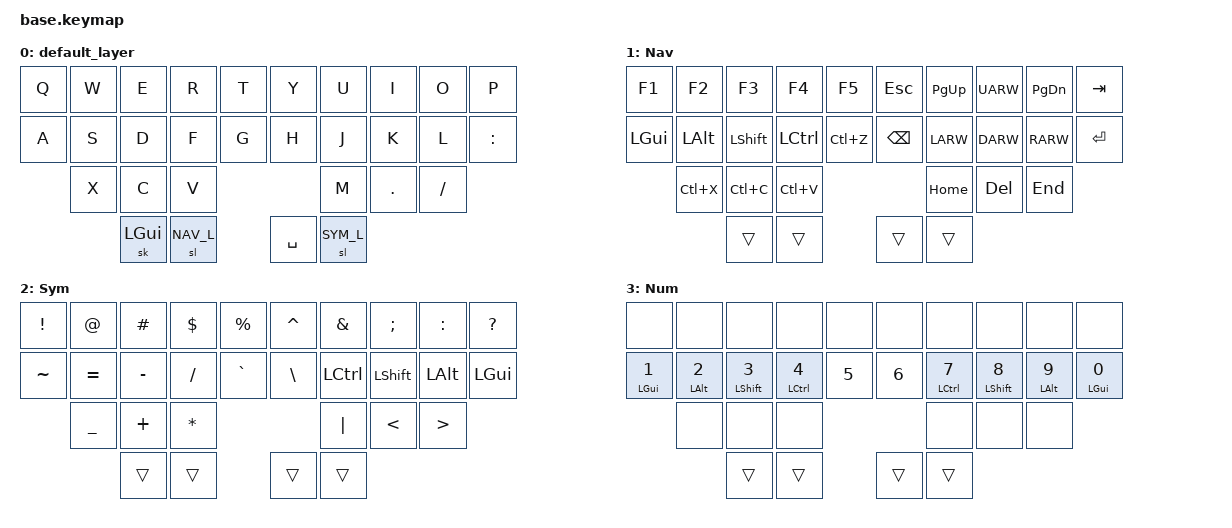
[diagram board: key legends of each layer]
/*
 * Copyright (c) 2020 The ZMK Contributors
 *
 * SPDX-License-Identifier: MIT
 */

#include <behaviors.dtsi>
#include <dt-bindings/zmk/keys.h>

/* Layers */
#define DEF_L 0
#define NAV_L 1
#define SYM_L 2
#define NUM_L 3

/* Shortcuts */
#define CUT LC(X)
#define COPY LC(C)
#define PASTE LC(V)
#define UNDO LC(Z)
#define SLALL LC(A)

/* Key Position Groups */
#define KEYS_L 0 1 2 3 4 10 11 12 13 14 20 21 22  // left-hand keys
#define KEYS_R 5 6 7 8 9 15 16 17 18 19 23 24 25  // right-hand keys
#define THUMBS 26 27 28 29                        // thumb keys

/* Behavior Settings */
&sk {
  release-after-ms = <250>;
  quick-release;
};

&sl {
  release-after-ms = <250>;
};

/ {
    behaviors {
        mtl: mod_tap_left {
            compatible = "zmk,behavior-hold-tap";
            label = "MOD_TAP_LEFT";
            #binding-cells = <2>;
            flavor = "balanced";
            tapping-term-ms = <280>;
            quick-tap-ms = <175>;
            bindings = <&kp>, <&kp>;
            hold-trigger-key-positions = <KEYS_R THUMBS>;
            hold-trigger-on-release;
            global-quick-tap;
        };
        mtr: mod_tap_right {
            compatible = "zmk,behavior-hold-tap";
            label = "MOD_TAP_RIGHT";
            #binding-cells = <2>;
            flavor = "balanced";
            tapping-term-ms = <280>;
            quick-tap-ms = <175>;
            bindings = <&kp>, <&kp>;
            hold-trigger-key-positions = <KEYS_L THUMBS>;
            hold-trigger-on-release;
            global-quick-tap;
        };
    };

    conditional_layers {
        compatible = "zmk,conditional-layers";
        tri_layer {
            if-layers = <NAV_L SYM_L>;
            then-layer = <NUM_L>;
        };
    };

    combos {
        compatible = "zmk,combos";

        /*                KEY POSITIONS

             0   1   2   3   4      5   6   7   8   9
            10  11  12  13  14     15  16  17  18  19
                20  21  22             23  24  25
                        26  27     28  29              */

         /* Guido */
        mov { key-positions = <12 13>; bindings = <&mo NAV_L>; layers = <DEF_L>; };

         /* Letters */
        v { key-positions = <1 2>; bindings = <&kp V>; layers = <DEF_L>; };
        q { key-positions = <2 3>; bindings = <&kp Q>; layers = <DEF_L>; };
        z { key-positions = <20 21>; bindings = <&kp Z>; layers = <DEF_L>; };

        /* Brackets */
        lbkt { key-positions = <1 11>; bindings = <&kp LBKT>; layers = <DEF_L SYM_L NUM_L>; };
        rbkt { key-positions = <8 18>; bindings = <&kp RBKT>; layers = <DEF_L SYM_L NUM_L>; };
        lpar { key-positions = <2 12>; bindings = <&kp LPAR>; layers = <DEF_L SYM_L NUM_L>; };
        rpar { key-positions = <7 17>; bindings = <&kp RPAR>; layers = <DEF_L SYM_L NUM_L>; };
        lbrc { key-positions = <3 13>; bindings = <&kp LBRC>; layers = <DEF_L SYM_L NUM_L>; };
        rbrc { key-positions = <6 16>; bindings = <&kp RBRC>; layers = <DEF_L SYM_L NUM_L>; };

        /* Convenience */
        del { key-positions = <4 14>; bindings = <&kp DEL>; };
        esc { key-positions = <5 15>; bindings = <&kp ESC>; };
        slall { key-positions = <20 21>; bindings = <&kp SLALL>; layers = <NAV_L>; };
    };

    keymap {
        compatible = "zmk,keymap";
        default_layer {
            bindings = <
 
                &kp Q     &kp W     &kp E     &kp R     &kp T       &kp Y     &kp U     &kp I     &kp O     &kp P
                &kp A     &kp S     &kp D     &kp F     &kp G       &kp H     &kp J     &kp K     &kp L     &kp COLON
                          &kp X     &kp C     &kp V                           &kp M     &kp DOT   &kp FSLH
                                    &sk LGUI  &sl NAV_L             &kp SPACE &sl SYM_L
            >;
        };
        nav_layer {
            label = "Nav";
            bindings = <
                &kp F1    &kp F2    &kp F3    &kp F4    &kp F5       &kp ESC   &kp PG_UP &kp UARW  &kp PG_DN &kp TAB   
                &kp LGUI  &kp LALT  &kp LSHFT &kp LCTRL &kp UNDO     &kp BSPC  &kp LARW  &kp DARW  &kp RARW  &kp ENTER
                          &kp CUT   &kp COPY  &kp PASTE                        &kp HOME  &kp DEL   &kp END   
                                              &trans    &trans      &trans    &trans
            >;
        };
        sym_layer {
            label = "Sym";
            bindings = <
                &kp EXCL  &kp AT    &kp HASH  &kp DLLR  &kp PRCNT   &kp CARET &kp AMPS  &kp SEMI  &kp COLON &kp QMARK
                &kp TILDE &kp EQUAL &kp MINUS &kp FSLH  &kp GRAVE   &kp BSLH  &kp LCTRL &kp LSHFT &kp LALT  &kp LGUI
                          &kp UNDER &kp PLUS  &kp ASTRK                       &kp PIPE  &kp LT    &kp GT
                                              &trans    &trans      &trans    &trans
            >;
        };
        num_layer {
            label = "Num";
            bindings = <
                &none     &none     &none     &none     &none       &none     &none     &none     &none     &none 
                &mtl LGUI N1 &mtl LALT N2 &mtl LSHFT N3 &mtl LCTRL N4 &kp N5 &kp N6 &mtr LCTRL N7 &mtr LSHFT N8 &mtr LALT N9 &mtr LGUI N0
                          &none     &none     &none                           &none     &none     &none
                                              &trans    &trans      &trans    &trans
            >;
        };
    };
};
